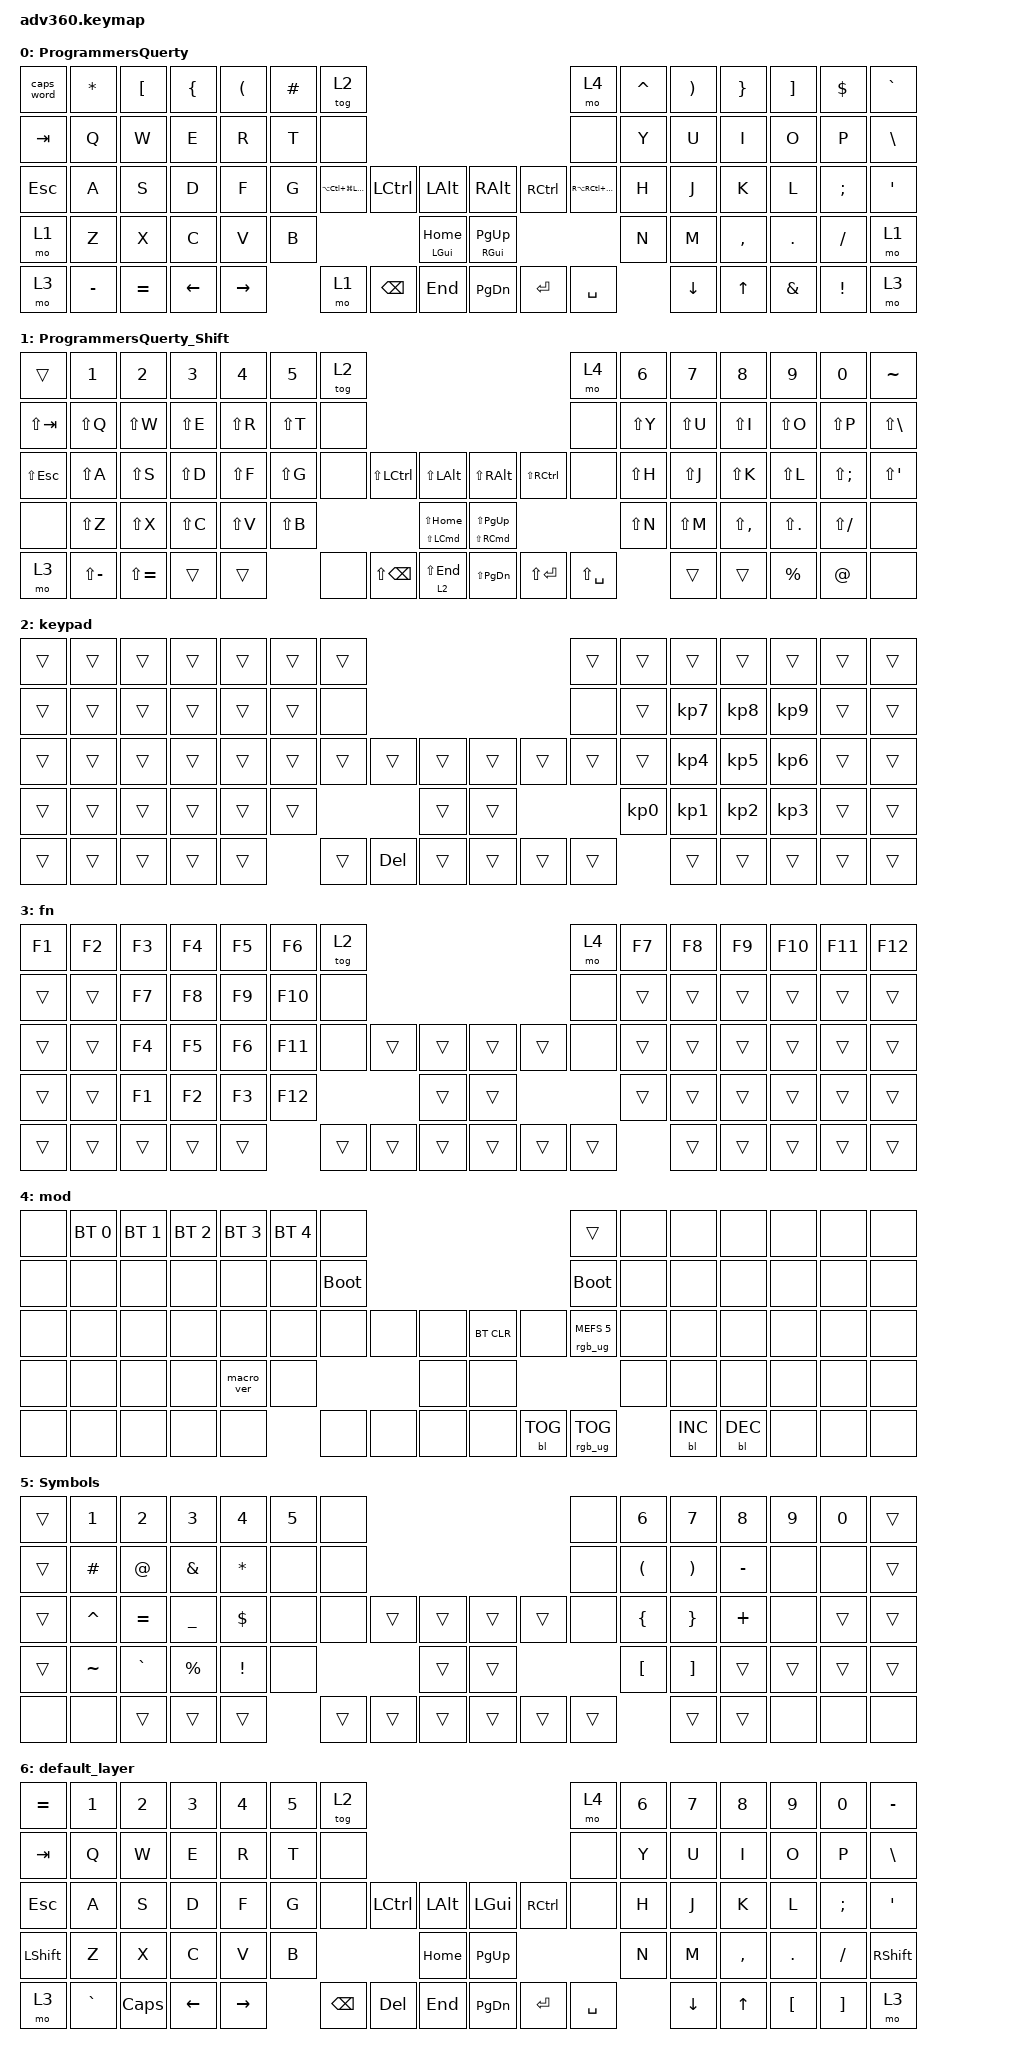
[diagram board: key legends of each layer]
#include <behaviors.dtsi>
#include <dt-bindings/zmk/backlight.h>
#include <dt-bindings/zmk/bt.h>
#include <dt-bindings/zmk/keys.h>
#include <dt-bindings/zmk/rgb.h>

/ {
    behaviors {
        #include "macros.dtsi"
      #include "version.dtsi"
      #ifndef VERSION_MACRO

        macro_ver: macro_ver {
            compatible = "zmk,behavior-macro";
            label = "macro_version";
            #binding-cells = <0>;
            bindings = <&kp RET>;
        };

        #endif

        hm: homerow_mods {
            compatible = "zmk,behavior-hold-tap";
            label = "HOMEROW_MODS";
            #binding-cells = <2>;
            tapping-term-ms = <200>;
            quick_tap_ms = <175>;
            flavor = "tap-preferred";
            bindings = <&kp>, <&kp>;
        };
    };

    macros {
    };

    keymap {
        compatible = "zmk,keymap";

        ProgrammersQuerty {
            bindings = <
&caps_word  &kp ASTERISK  &kp LEFT_BRACKET  &kp LEFT_BRACE  &kp LEFT_PARENTHESIS  &kp HASH  &tog 2                                                                                                 &mo 4                        &kp CARET  &kp RIGHT_PARENTHESIS  &kp RIGHT_BRACE  &kp RIGHT_BRACKET  &kp DOLLAR  &kp GRAVE
&kp TAB     &kp Q         &kp W             &kp E           &kp R                 &kp T     &none                                                                                                  &none                        &kp Y      &kp U                  &kp I            &kp O              &kp P       &kp BSLH
&kp ESC     &kp A         &kp S             &kp D           &kp F                 &kp G     &kp LA(LC(LG(LEFT_SHIFT)))  &kp LEFT_CONTROL  &kp LEFT_ALT           &kp RIGHT_ALT          &kp RCTRL  &kp RA(RC(RG(RIGHT_SHIFT)))  &kp H      &kp J                  &kp K            &kp L              &kp SEMI    &kp SQT
&mo 1       &kp Z         &kp X             &kp C           &kp V                 &kp B                                                   &mt LEFT_GUI HOME      &mt RIGHT_GUI PAGE_UP                                          &kp N      &kp M                  &kp COMMA        &kp DOT            &kp FSLH    &mo 1
&mo 3       &kp MINUS     &kp EQUAL         &kp LEFT        &kp RIGHT                       &mo 1                       &kp BACKSPACE     &kp END                &kp PG_DN              &kp ENTER  &kp SPACE                               &kp DOWN_ARROW         &kp UP_ARROW     &kp AMPS           &kp EXCL    &mo 3
            >;
        };

        ProgrammersQuerty_Shift {
            bindings = <
&trans       &kp N1         &kp N2         &kp N3     &kp N4     &kp N5     &tog 2                                                                                                                     &mo 4          &kp N6     &kp N7     &kp N8         &kp N9       &kp N0        &kp TILDE
&kp LS(TAB)  &kp LS(Q)      &kp LS(W)      &kp LS(E)  &kp LS(R)  &kp LS(T)  &none                                                                                                                      &none          &kp LS(Y)  &kp LS(U)  &kp LS(I)      &kp LS(O)    &kp LS(P)     &kp LS(BSLH)
&kp LS(ESC)  &kp LS(A)      &kp LS(S)      &kp LS(D)  &kp LS(F)  &kp LS(G)  &none   &kp LS(LEFT_CONTROL)  &kp LS(LEFT_ALT)                   &kp LS(RIGHT_ALT)                  &kp LS(RIGHT_CONTROL)  &none          &kp LS(H)  &kp LS(J)  &kp LS(K)      &kp LS(L)    &kp LS(SEMI)  &kp LS(SQT)
&none        &kp LS(Z)      &kp LS(X)      &kp LS(C)  &kp LS(V)  &kp LS(B)                                &mt LS(LEFT_COMMAND) LS(HOME)      &mt LS(RIGHT_COMMAND) LS(PAGE_UP)                                        &kp LS(N)  &kp LS(M)  &kp LS(COMMA)  &kp LS(DOT)  &kp LS(FSLH)  &none
&mo 3        &kp LS(MINUS)  &kp LS(EQUAL)  &trans     &trans                &none   &kp LS(BACKSPACE)     &lt 2 LS(END)                      &kp LS(PAGE_DOWN)                  &kp LS(ENTER)          &kp LS(SPACE)             &trans     &trans         &kp PERCENT  &kp AT        &none
            >;
        };

        keypad {
            bindings = <
&trans  &trans  &trans  &trans  &trans  &trans  &trans                                       &trans  &trans     &trans     &trans     &trans     &trans  &trans
&trans  &trans  &trans  &trans  &trans  &trans  &none                                        &none   &trans     &kp KP_N7  &kp KP_N8  &kp KP_N9  &trans  &trans
&trans  &trans  &trans  &trans  &trans  &trans  &trans  &trans   &trans      &trans  &trans  &trans  &trans     &kp KP_N4  &kp KP_N5  &kp KP_N6  &trans  &trans
&trans  &trans  &trans  &trans  &trans  &trans                   &trans      &trans                  &kp KP_N0  &kp KP_N1  &kp KP_N2  &kp KP_N3  &trans  &trans
&trans  &trans  &trans  &trans  &trans          &trans  &kp DEL  &trans      &trans  &trans  &trans             &trans     &trans     &trans     &trans  &trans
            >;
        };

        fn {
            bindings = <
&kp F1  &kp F2  &kp F3  &kp F4  &kp F5  &kp F6   &tog 2                                      &mo 4   &kp F7  &kp F8  &kp F9  &kp F10  &kp F11  &kp F12
&trans  &trans  &kp F7  &kp F8  &kp F9  &kp F10  &none                                       &none   &trans  &trans  &trans  &trans   &trans   &trans
&trans  &trans  &kp F4  &kp F5  &kp F6  &kp F11  &none   &trans  &trans      &trans  &trans  &none   &trans  &trans  &trans  &trans   &trans   &trans
&trans  &trans  &kp F1  &kp F2  &kp F3  &kp F12                  &trans      &trans                  &trans  &trans  &trans  &trans   &trans   &trans
&trans  &trans  &trans  &trans  &trans           &trans  &trans  &trans      &trans  &trans  &trans          &trans  &trans  &trans   &trans   &trans
            >;
        };

        mod {
            bindings = <
&none  &bt BT_SEL 0  &bt BT_SEL 1  &bt BT_SEL 2  &bt BT_SEL 3  &bt BT_SEL 4  &none                                                  &trans                  &none  &none       &none       &none  &none  &none
&none  &none         &none         &none         &none         &none         &bootloader                                            &bootloader             &none  &none       &none       &none  &none  &none
&none  &none         &none         &none         &none         &none         &none        &none  &none      &bt BT_CLR  &none       &rgb_ug RGB_MEFS_CMD 5  &none  &none       &none       &none  &none  &none
&none  &none         &none         &none         &macro_ver    &none                             &none      &none                                           &none  &none       &none       &none  &none  &none
&none  &none         &none         &none         &none                       &none        &none  &none      &none       &bl BL_TOG  &rgb_ug RGB_TOG                &bl BL_INC  &bl BL_DEC  &none  &none  &none
            >;
        };

        Symbols {
            bindings = <
&trans  &kp N1     &kp N2       &kp N3          &kp N4           &kp N5  &none                                       &none   &kp N6                &kp N7                 &kp N8     &kp N9  &kp N0  &trans
&trans  &kp HASH   &kp AT_SIGN  &kp AMPERSAND   &kp ASTERISK     &none   &none                                       &none   &kp LEFT_PARENTHESIS  &kp RIGHT_PARENTHESIS  &kp MINUS  &none   &none   &trans
&trans  &kp CARET  &kp EQUAL    &kp UNDERSCORE  &kp DOLLAR       &none   &none   &trans  &trans      &trans  &trans  &none   &kp LEFT_BRACE        &kp RIGHT_BRACE        &kp PLUS   &none   &trans  &trans
&trans  &kp TILDE  &kp GRAVE    &kp PERCENT     &kp EXCLAMATION  &none                   &trans      &trans                  &kp LEFT_BRACKET      &kp RIGHT_BRACKET      &trans     &trans  &trans  &trans
&none   &none      &trans       &trans          &trans                   &trans  &trans  &trans      &trans  &trans  &trans                        &trans                 &trans     &none   &none   &none
            >;
        };

        default_layer {
            bindings = <
&kp EQUAL  &kp N1     &kp N2    &kp N3    &kp N4     &kp N5  &tog 2                                                   &mo 4      &kp N6  &kp N7          &kp N8        &kp N9    &kp N0    &kp MINUS
&kp TAB    &kp Q      &kp W     &kp E     &kp R      &kp T   &none                                                    &none      &kp Y   &kp U           &kp I         &kp O     &kp P     &kp BSLH
&kp ESC    &kp A      &kp S     &kp D     &kp F      &kp G   &none     &kp LCTRL  &kp LALT      &kp LGUI   &kp RCTRL  &none      &kp H   &kp J           &kp K         &kp L     &kp SEMI  &kp SQT
&kp LSHFT  &kp Z      &kp X     &kp C     &kp V      &kp B                        &kp HOME      &kp PG_UP                        &kp N   &kp M           &kp COMMA     &kp DOT   &kp FSLH  &kp RSHFT
&mo 3      &kp GRAVE  &kp CAPS  &kp LEFT  &kp RIGHT          &kp BSPC  &kp DEL    &kp END       &kp PG_DN  &kp ENTER  &kp SPACE          &kp DOWN_ARROW  &kp UP_ARROW  &kp LBKT  &kp RBKT  &mo 3
            >;
        };
    };
};
